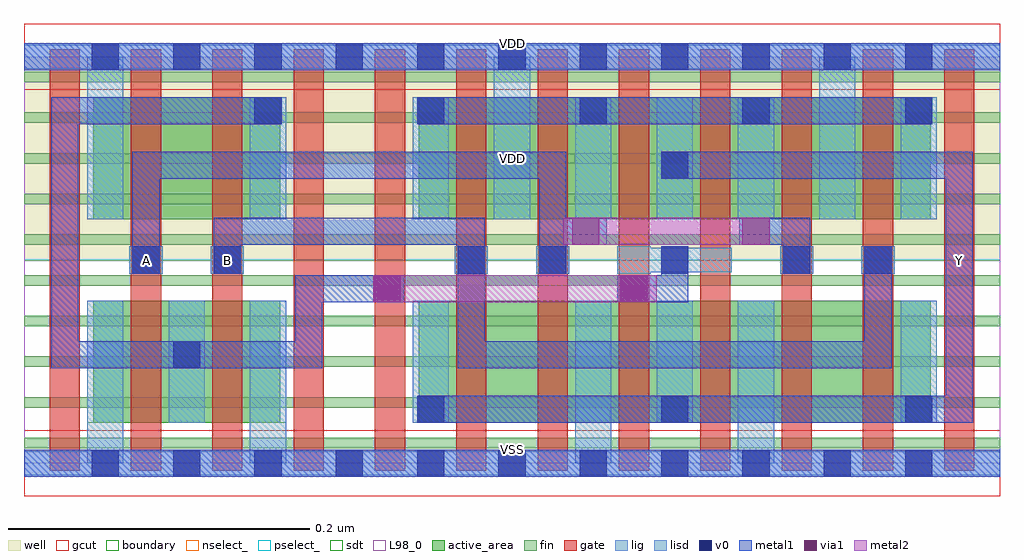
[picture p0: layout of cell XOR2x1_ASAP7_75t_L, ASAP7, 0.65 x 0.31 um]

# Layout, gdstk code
import gdstk
lib = gdstk.Library(unit=1e-6, precision=2.5e-10)
def R(c, l, rs):  # rectangles x0, y0, x1, y1
    for r in rs: c.add(gdstk.rectangle(r[:2], r[2:], *l))
def A(c, l, x, y, w, h, nx, ny, dx, dy):  # array of equal rectangles
    R(c, l, [(x+i*dx, y+j*dy, x+i*dx+w, y+j*dy+h) for i in range(nx) for j in range(ny)])
def P(c, l, *ps):  # polygons
    for p in ps: c.add(gdstk.Polygon(p, *l))
well = (1, 0)
fin = (2, 0)
gate = (7, 0)
gcut = (10, 0)
active_area = (11, 0)
nselect_ = (12, 0)
pselect_ = (13, 0)
lig = (16, 0)
lisd = (17, 0)
v0 = (18, 0)
metal1 = (19, 0)
metal2 = (20, 0)
via1 = (21, 0)
sdt = (88, 0)
L98_0 = (98, 0)
boundary = (100, 0)

xor2x1_asap7_75t_l = lib.new_cell('XOR2x1_ASAP7_75t_L')
R(xor2x1_asap7_75t_l, well, [(0,0.135,0.648,0.27)])
A(xor2x1_asap7_75t_l, fin, 0, 0.01, 0.648, 0.007, 1, 10, 0, 0.027)
A(xor2x1_asap7_75t_l, gate, 0.017, -0.005, 0.02, 0.28, 12, 1, 0.054, 0)
R(xor2x1_asap7_75t_l, gcut, [(0,-0.022,0.648,0.022), (0,0.248,0.648,0.292)])
R(xor2x1_asap7_75t_l, active_area, [(0.046,0.027,0.17,0.108), (0.262,0.027,0.602,0.108), (0.046,0.162,0.17,0.243), (0.262,0.162,0.602,0.243)])
R(xor2x1_asap7_75t_l, nselect_, [(0,0,0.648,0.135)])
R(xor2x1_asap7_75t_l, pselect_, [(0,0.135,0.648,0.27)])
A(xor2x1_asap7_75t_l, lig, 0.286, 0.126, 0.022, 0.018, 3, 1, 0.054, 0)
R(xor2x1_asap7_75t_l, lig, [(0,-0.008,0.648,0.008), (0.07,0.126,0.092,0.144), (0.124,0.126,0.146,0.144), (0.502,0.126,0.524,0.144), (0.556,0.126,0.578,0.144), (0.394,0.127,0.47,0.143), (0,0.262,0.648,0.278)])
A(xor2x1_asap7_75t_l, lisd, 0.096, 0.027, 0.024, 0.081, 4, 1, 0.162, 0)
A(xor2x1_asap7_75t_l, lisd, 0.15, 0.162, 0.024, 0.081, 3, 1, 0.108, 0)
R(xor2x1_asap7_75t_l, lisd, [(0.042,0,0.066,0.108), (0.042,0,0.066,0.108), (0.15,0,0.174,0.108), (0.15,0,0.174,0.108), (0.366,0,0.39,0.108), (0.366,0,0.39,0.108), (0.474,0,0.498,0.108), (0.474,0,0.498,0.108), (0.042,0.162,0.066,0.27), (0.042,0.162,0.066,0.27), (0.312,0.162,0.336,0.27), (0.312,0.162,0.336,0.27), (0.42,0.162,0.444,0.243), (0.474,0.162,0.498,0.243), (0.528,0.162,0.552,0.27), (0.528,0.162,0.552,0.27), (0.582,0.162,0.606,0.243)])
A(xor2x1_asap7_75t_l, v0, 0.045, -0.009, 0.018, 0.018, 11, 2, 0.054, 0.27)
A(xor2x1_asap7_75t_l, v0, 0.261, 0.027, 0.018, 0.018, 3, 1, 0.162, 0)
A(xor2x1_asap7_75t_l, v0, 0.342, 0.126, 0.018, 0.018, 3, 1, 0.081, 0)
A(xor2x1_asap7_75t_l, v0, 0.153, 0.225, 0.018, 0.018, 5, 1, 0.108, 0)
R(xor2x1_asap7_75t_l, v0, [(0.099,0.063,0.117,0.081), (0.072,0.126,0.09,0.144), (0.126,0.126,0.144,0.144), (0.288,0.126,0.306,0.144), (0.558,0.126,0.576,0.144), (0.423,0.189,0.441,0.207)])
A(xor2x1_asap7_75t_l, metal1, 0.261, 0.027, 0.018, 0.018, 3, 1, 0.162, 0)
A(xor2x1_asap7_75t_l, metal1, 0.342, 0.126, 0.018, 0.018, 3, 1, 0.081, 0)
A(xor2x1_asap7_75t_l, metal1, 0.153, 0.225, 0.018, 0.018, 5, 1, 0.108, 0)
R(xor2x1_asap7_75t_l, metal1, [(0,-0.009,0.648,0.009), (0.099,0.063,0.117,0.081), (0.234,0.107,0.252,0.125), (0.394,0.107,0.416,0.125), (0.072,0.126,0.09,0.144), (0.126,0.126,0.144,0.144), (0.288,0.126,0.306,0.144), (0.558,0.126,0.576,0.144), (0.369,0.145,0.387,0.163), (0.475,0.145,0.497,0.163), (0.423,0.189,0.441,0.207), (0.261,0.225,0.603,0.243), (0,0.261,0.648,0.279)])
P(xor2x1_asap7_75t_l, metal1, [(0.072,0.126),(0.072,0.207),(0.36,0.207),(0.36,0.163),(0.387,0.163),(0.387,0.145),(0.36,0.145),(0.36,0.126),(0.342,0.126),(0.342,0.189),(0.09,0.189),(0.09,0.126)],
  [(0.504,0.126),(0.504,0.145),(0.477,0.145),(0.477,0.163),(0.522,0.163),(0.522,0.126)],
  [(0.018,0.063),(0.018,0.243),(0.171,0.243),(0.171,0.225),(0.036,0.225),(0.036,0.081),(0.18,0.081),(0.18,0.125),(0.252,0.125),(0.252,0.107),(0.198,0.107),(0.198,0.063)],
  [(0.396,0.107),(0.396,0.125),(0.423,0.125),(0.423,0.144),(0.441,0.144),(0.441,0.107)],
  [(0.288,0.063),(0.288,0.145),(0.144,0.145),(0.144,0.126),(0.126,0.126),(0.126,0.163),(0.306,0.163),(0.306,0.081),(0.558,0.081),(0.558,0.144),(0.576,0.144),(0.576,0.063)],
  [(0.261,0.027),(0.261,0.045),(0.612,0.045),(0.612,0.189),(0.423,0.189),(0.423,0.207),(0.63,0.207),(0.63,0.027)])
R(xor2x1_asap7_75t_l, metal2, [(0.232,0.107,0.42,0.125), (0.358,0.145,0.495,0.163)])
R(xor2x1_asap7_75t_l, via1, [(0.232,0.107,0.25,0.125), (0.396,0.107,0.414,0.125), (0.364,0.145,0.382,0.163), (0.477,0.145,0.495,0.163)])
A(xor2x1_asap7_75t_l, sdt, 0.042, 0.027, 0.024, 0.081, 3, 1, 0.054, 0)
A(xor2x1_asap7_75t_l, sdt, 0.15, 0.027, 0.024, 0.081, 3, 1, 0.108, 0)
A(xor2x1_asap7_75t_l, sdt, 0.366, 0.027, 0.024, 0.081, 3, 1, 0.054, 0)
A(xor2x1_asap7_75t_l, sdt, 0.042, 0.162, 0.024, 0.081, 3, 1, 0.108, 0)
A(xor2x1_asap7_75t_l, sdt, 0.312, 0.162, 0.024, 0.081, 5, 1, 0.054, 0)
R(xor2x1_asap7_75t_l, sdt, [(0.042,0.027,0.066,0.108), (0.474,0.027,0.498,0.108), (0.582,0.027,0.606,0.108), (0.042,0.162,0.066,0.243), (0.312,0.162,0.336,0.243), (0.528,0.162,0.552,0.243), (0.582,0.162,0.606,0.243)])
R(xor2x1_asap7_75t_l, L98_0, [(0,0,0.648,0.27)])
R(xor2x1_asap7_75t_l, boundary, [(0,0,0.648,0.27)])
xor2x1_asap7_75t_l.add(gdstk.Label('VDD', (0.324,0.2025), layer=1, texttype=251))
xor2x1_asap7_75t_l.add(gdstk.Label('VSS', (0.324,-0.0675), layer=3, texttype=251))
xor2x1_asap7_75t_l.add(gdstk.Label('VSS', (0.324,0.009), layer=19, texttype=251))
xor2x1_asap7_75t_l.add(gdstk.Label('VDD', (0.324,0.279), layer=19, texttype=251))
xor2x1_asap7_75t_l.add(gdstk.Label('A', (0.081,0.135), layer=19, texttype=251))
xor2x1_asap7_75t_l.add(gdstk.Label('B', (0.135,0.135), layer=19, texttype=251))
xor2x1_asap7_75t_l.add(gdstk.Label('Y', (0.621,0.135), layer=19, texttype=251))

lib.write_gds('XOR2x1_ASAP7_75t_L.gds')
